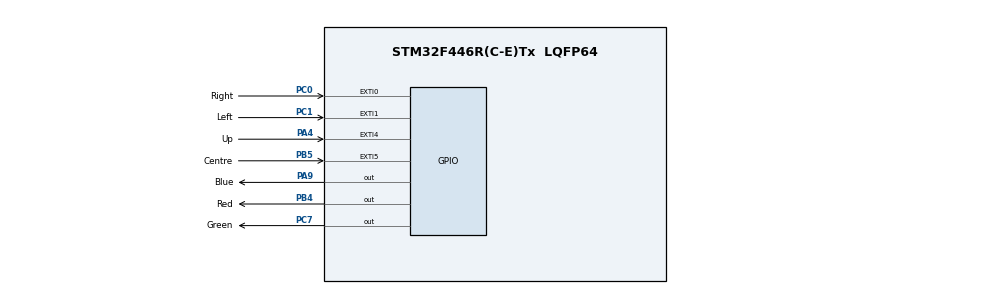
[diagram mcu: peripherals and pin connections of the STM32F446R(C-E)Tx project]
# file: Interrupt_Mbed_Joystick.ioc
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Mcu.Family=STM32F4
Mcu.Name=STM32F446R(C-E)Tx
Mcu.Package=LQFP64
NVIC.EXTI0_IRQn=true\:0\:0\:false\:false\:true\:true\:true\:true
NVIC.EXTI1_IRQn=true\:0\:0\:false\:false\:true\:true\:true\:true
NVIC.EXTI4_IRQn=true\:0\:0\:false\:false\:true\:true\:true\:true
NVIC.EXTI9_5_IRQn=true\:0\:0\:false\:false\:true\:true\:true\:true
NVIC.PriorityGroup=NVIC_PRIORITYGROUP_4
PA4.GPIO_Label=Up
PA4.Signal=GPXTI4
PA9.GPIO_Label=Blue
PA9.Signal=GPIO_Output
PB4.GPIO_Label=Red
PB4.Signal=GPIO_Output
PB5.GPIO_Label=Centre
PB5.Signal=GPXTI5
PC0.GPIO_Label=Right
PC0.Signal=GPXTI0
PC1.GPIO_Label=Left
PC1.Signal=GPXTI1
PC7.GPIO_Label=Green
PC7.Signal=GPIO_Output
ProjectManager.HeapSize=0x200
ProjectManager.StackSize=0x400
ProjectManager.TargetToolchain=STM32CubeIDE
RCC.CortexFreq_Value=16000000
RCC.USBFreq_Value=96000000
RCC.VCOOutputFreq_Value=192000000
board=custom

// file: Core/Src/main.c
/* USER CODE BEGIN Header */
/**
 ******************************************************************************
 * @file           : main.c
 * @brief          : Main program body
 ******************************************************************************
 * @attention
 *
 * Copyright (c) 2024 STMicroelectronics.
 * All rights reserved.
 *
 * This software is licensed under terms that can be found in the LICENSE file
 * in the root directory of this software component.
 * If no LICENSE file comes with this software, it is provided AS-IS.
 *
 ******************************************************************************
 */
/* USER CODE END Header */
#include "main.h"

void SystemClock_Config(void);
static void MX_GPIO_Init(void);

int main(void)
{

	/* MCU Configuration--------------------------------------------------------*/

	/* Reset of all peripherals, Initializes the Flash interface and the Systick. */
	HAL_Init();

	/* Configure the system clock */
	SystemClock_Config();

	/* Initialize all configured peripherals */
	MX_GPIO_Init();
	/* USER CODE BEGIN 2 */
	HAL_GPIO_WritePin(Blue_GPIO_Port, Blue_Pin, 1);
	HAL_GPIO_WritePin(Green_GPIO_Port,Green_Pin, 1);
	HAL_GPIO_WritePin(Red_GPIO_Port,Red_Pin, 1);

	/* USER CODE END 2 */

	/* Infinite loop */
	while (1)
	{

	}
}

void SystemClock_Config(void)
{
	RCC_OscInitTypeDef RCC_OscInitStruct = {0};
	RCC_ClkInitTypeDef RCC_ClkInitStruct = {0};

	/** Configure the main internal regulator output voltage
	 */
	__HAL_RCC_PWR_CLK_ENABLE();
	__HAL_PWR_VOLTAGESCALING_CONFIG(PWR_REGULATOR_VOLTAGE_SCALE3);

	/** Initializes the RCC Oscillators according to the specified parameters
	 * in the RCC_OscInitTypeDef structure.
	 */
	RCC_OscInitStruct.OscillatorType = RCC_OSCILLATORTYPE_HSI;
	RCC_OscInitStruct.HSIState = RCC_HSI_ON;
	RCC_OscInitStruct.HSICalibrationValue = RCC_HSICALIBRATION_DEFAULT;
	RCC_OscInitStruct.PLL.PLLState = RCC_PLL_NONE;
	if (HAL_RCC_OscConfig(&RCC_OscInitStruct) != HAL_OK)
	{
		Error_Handler();
	}

	/** Initializes the CPU, AHB and APB buses clocks
	 */
	RCC_ClkInitStruct.ClockType = RCC_CLOCKTYPE_HCLK|RCC_CLOCKTYPE_SYSCLK
			|RCC_CLOCKTYPE_PCLK1|RCC_CLOCKTYPE_PCLK2;
	RCC_ClkInitStruct.SYSCLKSource = RCC_SYSCLKSOURCE_HSI;
	RCC_ClkInitStruct.AHBCLKDivider = RCC_SYSCLK_DIV1;
	RCC_ClkInitStruct.APB1CLKDivider = RCC_HCLK_DIV1;
	RCC_ClkInitStruct.APB2CLKDivider = RCC_HCLK_DIV1;

	if (HAL_RCC_ClockConfig(&RCC_ClkInitStruct, FLASH_LATENCY_0) != HAL_OK)
	{
		Error_Handler();
	}
}

static void MX_GPIO_Init(void)
{
	GPIO_InitTypeDef GPIO_InitStruct = {0};

	/* GPIO Ports Clock Enable */
	__HAL_RCC_GPIOC_CLK_ENABLE();
	__HAL_RCC_GPIOA_CLK_ENABLE();
	__HAL_RCC_GPIOB_CLK_ENABLE();

	/*Configure GPIO pin Output Level */
	HAL_GPIO_WritePin(Green_GPIO_Port, Green_Pin, GPIO_PIN_RESET);

	/*Configure GPIO pin Output Level */
	HAL_GPIO_WritePin(Blue_GPIO_Port, Blue_Pin, GPIO_PIN_RESET);

	/*Configure GPIO pin Output Level */
	HAL_GPIO_WritePin(Red_GPIO_Port, Red_Pin, GPIO_PIN_RESET);

	/*Configure GPIO pins : Right_Pin Left_Pin */
	GPIO_InitStruct.Pin = Right_Pin|Left_Pin;
	GPIO_InitStruct.Mode = GPIO_MODE_IT_RISING;
	GPIO_InitStruct.Pull = GPIO_NOPULL;
	HAL_GPIO_Init(GPIOC, &GPIO_InitStruct);

	/*Configure GPIO pin : Up_Pin */
	GPIO_InitStruct.Pin = Up_Pin;
	GPIO_InitStruct.Mode = GPIO_MODE_IT_RISING;
	GPIO_InitStruct.Pull = GPIO_NOPULL;
	HAL_GPIO_Init(Up_GPIO_Port, &GPIO_InitStruct);

	/*Configure GPIO pin : Green_Pin */
	GPIO_InitStruct.Pin = Green_Pin;
	GPIO_InitStruct.Mode = GPIO_MODE_OUTPUT_PP;
	GPIO_InitStruct.Pull = GPIO_NOPULL;
	GPIO_InitStruct.Speed = GPIO_SPEED_FREQ_LOW;
	HAL_GPIO_Init(Green_GPIO_Port, &GPIO_InitStruct);

	/*Configure GPIO pin : Blue_Pin */
	GPIO_InitStruct.Pin = Blue_Pin;
	GPIO_InitStruct.Mode = GPIO_MODE_OUTPUT_PP;
	GPIO_InitStruct.Pull = GPIO_NOPULL;
	GPIO_InitStruct.Speed = GPIO_SPEED_FREQ_LOW;
	HAL_GPIO_Init(Blue_GPIO_Port, &GPIO_InitStruct);

	/*Configure GPIO pin : Red_Pin */
	GPIO_InitStruct.Pin = Red_Pin;
	GPIO_InitStruct.Mode = GPIO_MODE_OUTPUT_PP;
	GPIO_InitStruct.Pull = GPIO_NOPULL;
	GPIO_InitStruct.Speed = GPIO_SPEED_FREQ_LOW;
	HAL_GPIO_Init(Red_GPIO_Port, &GPIO_InitStruct);

	/*Configure GPIO pin : Centre_Pin */
	GPIO_InitStruct.Pin = Centre_Pin;
	GPIO_InitStruct.Mode = GPIO_MODE_IT_RISING;
	GPIO_InitStruct.Pull = GPIO_NOPULL;
	HAL_GPIO_Init(Centre_GPIO_Port, &GPIO_InitStruct);

	/* EXTI interrupt init*/
	HAL_NVIC_SetPriority(EXTI0_IRQn, 0, 0);
	HAL_NVIC_EnableIRQ(EXTI0_IRQn);

	HAL_NVIC_SetPriority(EXTI1_IRQn, 0, 0);
	HAL_NVIC_EnableIRQ(EXTI1_IRQn);

	HAL_NVIC_SetPriority(EXTI4_IRQn, 0, 0);
	HAL_NVIC_EnableIRQ(EXTI4_IRQn);

	HAL_NVIC_SetPriority(EXTI9_5_IRQn, 0, 0);
	HAL_NVIC_EnableIRQ(EXTI9_5_IRQn);

}

/* USER CODE BEGIN 4 */

void HAL_GPIO_EXTI_Callback(uint16_t GPIO_Pin)
{
	if(GPIO_Pin == Right_Pin)
	{
		HAL_GPIO_WritePin(Red_GPIO_Port, Red_Pin, 0);
		HAL_GPIO_WritePin(Blue_GPIO_Port, Blue_Pin, 1);
		HAL_GPIO_WritePin(Green_GPIO_Port,Green_Pin, 1);
	}
	else if(GPIO_Pin == Left_Pin)
	{
		HAL_GPIO_WritePin(Blue_GPIO_Port, Blue_Pin, 0);
		HAL_GPIO_WritePin(Red_GPIO_Port, Red_Pin, 1);
		HAL_GPIO_WritePin(Green_GPIO_Port,Green_Pin, 1);
	}
	else if(GPIO_Pin == Centre_Pin)
	{
		HAL_GPIO_WritePin(Green_GPIO_Port,Green_Pin, 0);
		HAL_GPIO_WritePin(Blue_GPIO_Port, Blue_Pin, 1);
		HAL_GPIO_WritePin(Red_GPIO_Port, Red_Pin, 1);
	}
	else if(GPIO_Pin == Up_Pin)
	{
		HAL_GPIO_WritePin(Blue_GPIO_Port, Blue_Pin, 0);
		HAL_GPIO_WritePin(Green_GPIO_Port,Green_Pin, 0);
		HAL_GPIO_WritePin(Red_GPIO_Port, Red_Pin, 1);
	}
	else
	{
		HAL_GPIO_WritePin(Blue_GPIO_Port, Blue_Pin, 1);
		HAL_GPIO_WritePin(Green_GPIO_Port,Green_Pin, 1);
		HAL_GPIO_WritePin(Red_GPIO_Port,Red_Pin, 1);
	}
}

/* USER CODE END 4 */

void Error_Handler(void)
{
	__disable_irq();
	while (1)
	{
	}
}
